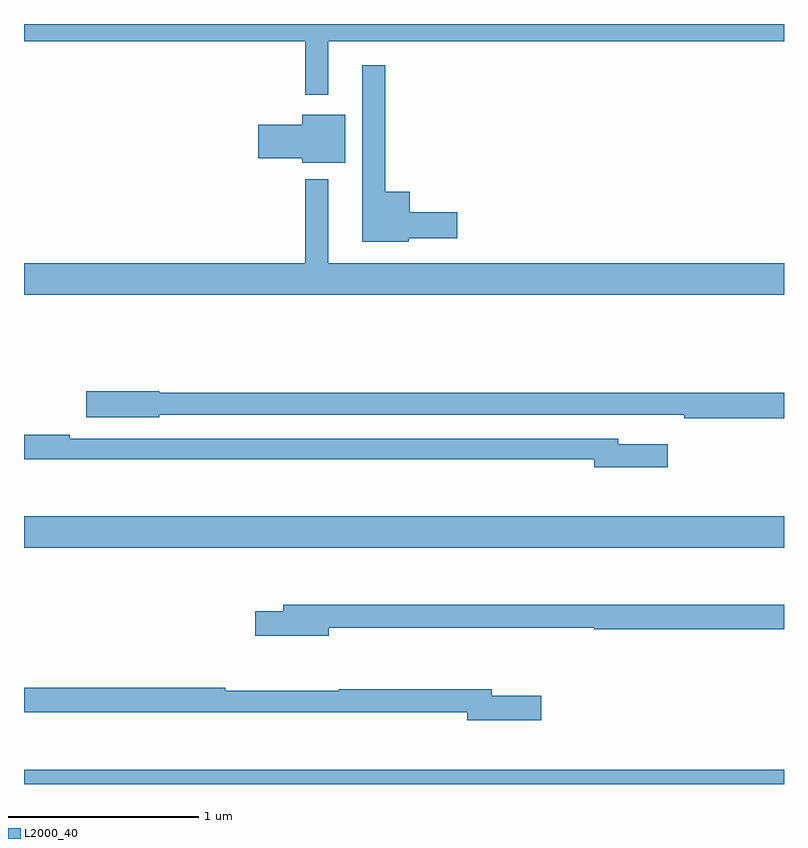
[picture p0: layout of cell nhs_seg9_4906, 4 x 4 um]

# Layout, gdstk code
import gdstk
lib = gdstk.Library(unit=1e-6, precision=1e-09)
def R(c, l, rs):  # rectangles x0, y0, x1, y1
    for r in rs: c.add(gdstk.rectangle(r[:2], r[2:], *l))
def P(c, l, *ps):  # polygons
    for p in ps: c.add(gdstk.Polygon(p, *l))
L2000_40 = (2000, 40)

nhs_seg9_4906 = lib.new_cell('nhs_seg9_4906')
R(nhs_seg9_4906, L2000_40, [(395,1204.5,399,1204.576), (395,1205.744,399,1205.908)])
P(nhs_seg9_4906, L2000_40, [(396.601,1208.408),(399,1208.408),(399,1208.5),(395,1208.5),(395,1208.408),(396.48,1208.408),(396.48,1208.127),(396.601,1208.127)],
  [(397.026,1207.373),(397.279,1207.373),(397.279,1207.508),(397.03,1207.508),(397.03,1207.618),(396.901,1207.618),(396.901,1208.284),(396.779,1208.284),(396.779,1207.355),(397.026,1207.355)],
  [(396.691,1208.023),(396.464,1208.023),(396.464,1207.971),(396.234,1207.971),(396.234,1207.793),(396.464,1207.793),(396.464,1207.769),(396.691,1207.769)],
  [(399,1207.24),(396.601,1207.24),(396.601,1207.684),(396.48,1207.684),(396.48,1207.24),(395,1207.24),(395,1207.076),(399,1207.076)],
  [(399,1206.56),(395.712,1206.56),(395.712,1206.566),(395.328,1206.566),(395.328,1206.431),(395.712,1206.431),(395.712,1206.444),(398.224,1206.444),(398.224,1206.443),(398.476,1206.443),(398.476,1206.424),(399,1206.424)],
  [(398.389,1206.289),(398.128,1206.289),(398.128,1206.318),(395.24,1206.318),(395.24,1206.338),(395,1206.338),(395,1206.21),(398,1206.21),(398,1206.167),(398.389,1206.167)],
  [(396.604,1205.322),(398,1205.322),(398,1205.314),(399,1205.314),(399,1205.443),(396.365,1205.443),(396.365,1205.409),(396.216,1205.409),(396.216,1205.279),(396.604,1205.279)],
  [(397.723,1204.965),(397.462,1204.965),(397.462,1204.999),(396.658,1204.999),(396.658,1204.991),(396.058,1204.991),(396.058,1205.006),(395,1205.006),(395,1204.878),(397.334,1204.878),(397.334,1204.835),(397.723,1204.835)])

lib.write_gds('nhs_seg9_4906.gds')
